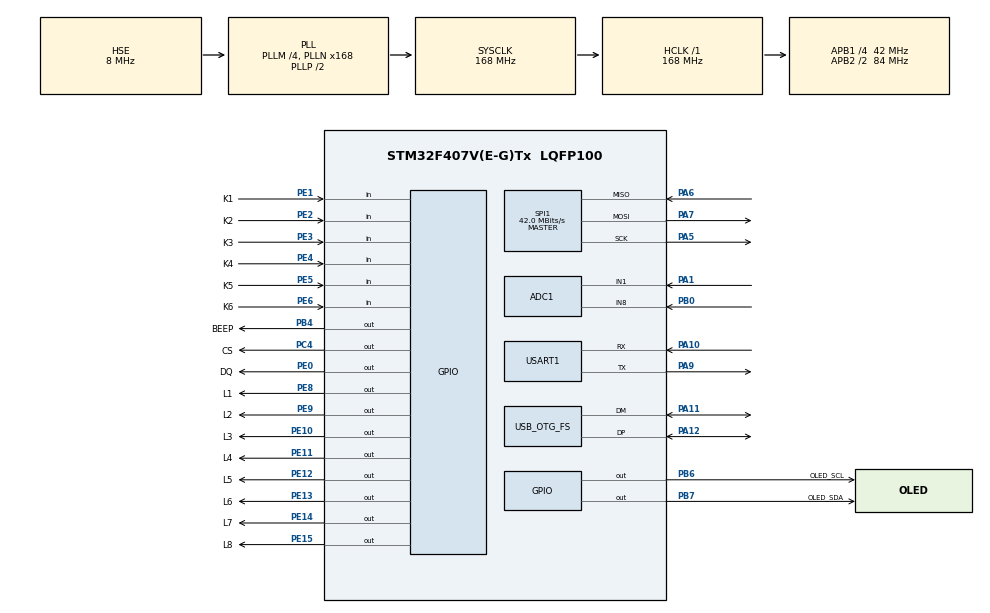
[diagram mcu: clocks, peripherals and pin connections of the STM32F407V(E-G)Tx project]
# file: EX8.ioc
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ADC1.Channel-0\#ChannelRegularConversion=ADC_CHANNEL_1
ADC1.Channel-1\#ChannelRegularConversion=ADC_CHANNEL_8
ADC1.ContinuousConvMode=ENABLE
ADC1.DMAContinuousRequests=ENABLE
ADC1.NbrOfConversion=2
ADC1.NbrOfConversionFlag=1
ADC1.Rank-0\#ChannelRegularConversion=1
ADC1.Rank-1\#ChannelRegularConversion=2
ADC1.SamplingTime-0\#ChannelRegularConversion=ADC_SAMPLETIME_480CYCLES
ADC1.SamplingTime-1\#ChannelRegularConversion=ADC_SAMPLETIME_480CYCLES
ADC1.ScanConvMode=ENABLE
ADC1.master=1
Dma.ADC1.1.Direction=DMA_PERIPH_TO_MEMORY
Dma.ADC1.1.FIFOMode=DMA_FIFOMODE_DISABLE
Dma.ADC1.1.Instance=DMA2_Stream0
Dma.ADC1.1.MemDataAlignment=DMA_MDATAALIGN_HALFWORD
Dma.ADC1.1.MemInc=DMA_MINC_ENABLE
Dma.ADC1.1.Mode=DMA_CIRCULAR
Dma.ADC1.1.PeriphDataAlignment=DMA_PDATAALIGN_HALFWORD
Dma.ADC1.1.PeriphInc=DMA_PINC_DISABLE
Dma.ADC1.1.Priority=DMA_PRIORITY_LOW
Dma.Request0=USART1_RX
Dma.Request1=ADC1
Dma.USART1_RX.0.Direction=DMA_PERIPH_TO_MEMORY
Dma.USART1_RX.0.FIFOMode=DMA_FIFOMODE_DISABLE
Dma.USART1_RX.0.Instance=DMA2_Stream2
Dma.USART1_RX.0.MemDataAlignment=DMA_MDATAALIGN_BYTE
Dma.USART1_RX.0.MemInc=DMA_MINC_ENABLE
Dma.USART1_RX.0.Mode=DMA_NORMAL
Dma.USART1_RX.0.PeriphDataAlignment=DMA_PDATAALIGN_BYTE
Dma.USART1_RX.0.PeriphInc=DMA_PINC_DISABLE
Dma.USART1_RX.0.Priority=DMA_PRIORITY_LOW
FATFS._MAX_SS=4096
FREERTOS.Tasks01=TaskMain,32,2048,StartTaskMain,Default,NULL,Dynamic,NULL,NULL;TaskKEY,24,2048,StartTaskKEY,Default,NULL,Dynamic,NULL,NULL;TaskUsart,24,2048,StartTaskUsart,Default,NULL,Dynamic,NULL,NULL;TaskGUI,8,2048,StartTaskGUI,Default,NULL,Dynamic,NULL,NULL
FREERTOS.configTOTAL_HEAP_SIZE=80000
Mcu.Family=STM32F4
Mcu.Name=STM32F407V(E-G)Tx
Mcu.Package=LQFP100
NVIC.ADC_IRQn=true\:5\:0\:true\:false\:true\:false\:true\:true
NVIC.DMA2_Stream0_IRQn=true\:5\:0\:true\:false\:true\:false\:false\:true
NVIC.DMA2_Stream2_IRQn=true\:5\:0\:false\:false\:true\:true\:false\:true
NVIC.OTG_FS_IRQn=true\:5\:0\:false\:false\:true\:true\:true\:true
NVIC.PriorityGroup=NVIC_PRIORITYGROUP_4
NVIC.RTC_Alarm_IRQn=true\:5\:0\:false\:false\:true\:true\:true\:true
NVIC.RTC_WKUP_IRQn=true\:5\:0\:false\:false\:true\:true\:true\:true
NVIC.TIM7_IRQn=true\:0\:0\:false\:false\:true\:false\:false\:true
NVIC.TimeBase=TIM7_IRQn
NVIC.TimeBaseIP=TIM7
NVIC.USART1_IRQn=true\:5\:0\:true\:false\:true\:false\:true\:true
PA1.Signal=ADCx_IN1
PA10.Mode=Asynchronous
PA10.Signal=USART1_RX
PA11.Mode=Host_Only
PA11.Signal=USB_OTG_FS_DM
PA12.Mode=Host_Only
PA12.Signal=USB_OTG_FS_DP
PA13.Mode=Serial_Wire
PA13.Signal=SYS_JTMS-SWDIO
PA14.Mode=Serial_Wire
PA14.Signal=SYS_JTCK-SWCLK
PA5.Mode=Full_Duplex_Master
PA5.Signal=SPI1_SCK
PA6.Mode=Full_Duplex_Master
PA6.Signal=SPI1_MISO
PA7.Mode=Full_Duplex_Master
PA7.Signal=SPI1_MOSI
PA9.Mode=Asynchronous
PA9.Signal=USART1_TX
PB0.Signal=ADCx_IN8
PB4.GPIO_Label=BEEP
PB4.Signal=GPIO_Output
PB6.GPIO_Label=OLED_SCL
PB6.Signal=GPIO_Output
PB7.GPIO_Label=OLED_SDA
PB7.Signal=GPIO_Output
PC14-OSC32_IN.Mode=LSE-External-Oscillator
PC14-OSC32_IN.Signal=RCC_OSC32_IN
PC15-OSC32_OUT.Mode=LSE-External-Oscillator
PC15-OSC32_OUT.Signal=RCC_OSC32_OUT
PC4.GPIO_Label=CS
PC4.Signal=GPIO_Output
PE0.GPIO_Label=DQ
PE0.Signal=GPIO_Output
PE1.GPIO_Label=K1
PE1.GPIO_Mode=GPIO_MODE_INPUT
PE1.GPIO_PuPd=GPIO_PULLUP
PE1.Signal=GPIO_Input
PE10.GPIO_Label=L3
PE10.PinState=GPIO_PIN_SET
PE10.Signal=GPIO_Output
PE11.GPIO_Label=L4
PE11.PinState=GPIO_PIN_SET
PE11.Signal=GPIO_Output
PE12.GPIO_Label=L5
PE12.PinState=GPIO_PIN_SET
PE12.Signal=GPIO_Output
PE13.GPIO_Label=L6
PE13.PinState=GPIO_PIN_SET
PE13.Signal=GPIO_Output
PE14.GPIO_Label=L7
PE14.PinState=GPIO_PIN_SET
PE14.Signal=GPIO_Output
PE15.GPIO_Label=L8
PE15.PinState=GPIO_PIN_SET
PE15.Signal=GPIO_Output
PE2.GPIO_Label=K2
PE2.GPIO_Mode=GPIO_MODE_INPUT
PE2.GPIO_PuPd=GPIO_PULLUP
PE2.Signal=GPIO_Input
PE3.GPIO_Label=K3
PE3.GPIO_Mode=GPIO_MODE_INPUT
PE3.GPIO_PuPd=GPIO_PULLUP
PE3.Signal=GPIO_Input
PE4.GPIO_Label=K4
PE4.GPIO_Mode=GPIO_MODE_INPUT
PE4.GPIO_PuPd=GPIO_PULLUP
PE4.Signal=GPIO_Input
PE5.GPIO_Label=K5
PE5.GPIO_Mode=GPIO_MODE_INPUT
PE5.GPIO_PuPd=GPIO_PULLDOWN
PE5.Signal=GPIO_Input
PE6.GPIO_Label=K6
PE6.GPIO_Mode=GPIO_MODE_INPUT
PE6.GPIO_PuPd=GPIO_PULLDOWN
PE6.Signal=GPIO_Input
PE8.GPIO_Label=L1
PE8.PinState=GPIO_PIN_SET
PE8.Signal=GPIO_Output
PE9.GPIO_Label=L2
PE9.PinState=GPIO_PIN_SET
PE9.Signal=GPIO_Output
PH0-OSC_IN.Mode=HSE-External-Oscillator
PH0-OSC_IN.Signal=RCC_OSC_IN
PH1-OSC_OUT.Mode=HSE-External-Oscillator
PH1-OSC_OUT.Signal=RCC_OSC_OUT
ProjectManager.HeapSize=0x4000
ProjectManager.StackSize=0x4000
ProjectManager.TargetToolchain=MDK-ARM V5.27
RCC.48MHZClocksFreq_Value=48000000
RCC.AHBFreq_Value=168000000
RCC.APB1CLKDivider=RCC_HCLK_DIV4
RCC.APB1Freq_Value=42000000
RCC.APB1TimFreq_Value=84000000
RCC.APB2CLKDivider=RCC_HCLK_DIV2
RCC.APB2Freq_Value=84000000
RCC.APB2TimFreq_Value=168000000
RCC.CortexFreq_Value=168000000
RCC.HCLKFreq_Value=168000000
RCC.HSE_VALUE=8000000
RCC.HSI_VALUE=16000000
RCC.PLLM=4
RCC.PLLN=168
RCC.PLLQ=7
RCC.RCC_RTC_Clock_Source=RCC_RTCCLKSOURCE_LSE
RCC.SYSCLKFreq_VALUE=168000000
RCC.SYSCLKSource=RCC_SYSCLKSOURCE_PLLCLK
RCC.VCOOutputFreq_Value=336000000
RTC.Alarm=RTC_ALARM_A
SH.ADCx_IN1.0=ADC1_IN1,IN1
SH.ADCx_IN8.0=ADC1_IN8,IN8
SPI1.CalculateBaudRate=42.0 MBits/s
SPI1.Direction=SPI_DIRECTION_2LINES
SPI1.Mode=SPI_MODE_MASTER
SPI1.VirtualType=VM_MASTER
USART1.VirtualMode=VM_ASYNC
USB_HOST.USBH_HandleTypeDef-MSC_FS=hUsbHostFS
USB_HOST.USBH_PROCESS_STACK_SIZE-MSC_FS=512
USB_HOST.VirtualModeFS=Msc
USB_OTG_FS.VirtualMode=Host_Only
USB_OTG_FS.phy_itface=HCD_PHY_EMBEDDED
VP_FATFS_VS_Generic.Mode=User_defined
VP_FATFS_VS_USB.Mode=USB
VP_FREERTOS_VS_CMSIS_V2.Mode=CMSIS_V2
VP_RTC_VS_RTC_Activate.Mode=RTC_Enabled
VP_RTC_VS_RTC_Alarm_A_Intern.Mode=Alarm A
VP_RTC_VS_RTC_Calendar.Mode=RTC_Calendar
VP_RTC_VS_RTC_WakeUp_intern.Mode=WakeUp
VP_SYS_VS_tim7.Mode=TIM7
VP_USB_HOST_VS_USB_HOST_MSC_FS.Mode=MSC_FS
board=custom

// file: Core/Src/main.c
/* USER CODE BEGIN Header */
/**
  ******************************************************************************
  * @file           : main.c
  * @brief          : Main program body
  ******************************************************************************
  * @attention
  *
  * <h2><center>&copy; Copyright (c) 2020 STMicroelectronics.
  * All rights reserved.</center></h2>
  *
  * This software component is licensed by ST under Ultimate Liberty license
  * SLA0044, the "License"; You may not use this file except in compliance with
  * the License. You may obtain a copy of the License at:
  *                             www.st.com/SLA0044
  *
  ******************************************************************************
  */
/* USER CODE END Header */
#include "main.h"
#include "cmsis_os.h"
#include "adc.h"
#include "dma.h"
#include "fatfs.h"
#include "rtc.h"
#include "spi.h"
#include "usart.h"
#include "usb_host.h"
#include "gpio.h"

/* USER CODE BEGIN Includes */
#include <stdio.h>
#include <stdlib.h>
#include <string.h>
#include "w25qxx.h"

/* USER CODE END Includes */

void SystemClock_Config(void);
void MX_FREERTOS_Init(void);

/* USER CODE BEGIN 0 */

void TestW25Q128(void)
{
	uint8_t dat[4096] = "1234567890-1234567890-1234567890-1234567890-1234567890-\0";
	uint8_t read_buf[4096] = {0};
	uint16_t i;
	uint16_t *pDat = (uint16_t *)dat;
	for(i=0;i<sizeof(dat)/2;++i)
	{
		pDat[i] = i*i;
	}

	W25QXX_Init();
	uint16_t device_id = W25QXX_ReadID();
	printf("device_id = 0x%04X\n\r",device_id);

	HAL_Delay(500);

	int j=0;
	uint32_t addr = 0;
	for(j=0;j<1;j++)
	{
		addr = 0x1000 * j;
		// 读扇区
		printf("Read data before write\n\r");
		memset(read_buf,0,sizeof(read_buf));
		W25QXX_Read(read_buf,addr,sizeof(read_buf));
		printf("read data if:\n\r");
		for(i=0;i<sizeof(read_buf);++i)
		{
			printf("%02X ",read_buf[i]);
		}
		printf("\n\r");
		HAL_Delay(20);

		//撤除该扇区
		printf("Erase sector %d\n\r",addr / 0x1000);
		W25QXX_Erase_Sector(addr);
		HAL_Delay(20);

		//写数据
		printf("Write data\n\r");
		W25QXX_Write(dat,addr,sizeof(dat));
		HAL_Delay(20);

		//再次读数据
		printf("Read data after write\n\r");
		memset(read_buf,0,sizeof(dat));
		W25QXX_Read(read_buf,addr,sizeof(read_buf));
		printf("read data is:\n\r");
		for(i=0;i<sizeof(read_buf);++i)
		{
			printf("%02X ",read_buf[i]);
		}
		printf("\n\r");
		HAL_Delay(20);

		uint8_t chkok = 1;
		for(i=0;i<sizeof(dat);++i)
		{
			if(dat[i] != read_buf[i])
			{
				chkok = 0;
				break;
			}
		}
		printf("sector %d write %s!\n\r", addr/0x1000,chkok?"ok":"error");
		if(!chkok)
			break;
	}
}

void fs_test(void)
{
	BYTE work[4096];
	FATFS fs;
	FIL fil;
	FRESULT res;
	UINT bw,i;
	BYTE mm[500];

	res = f_mount(&fs,"0:",1);
	if(res == 0x0D)
	{
		printf("Flash Disk Formatting...\n\r");  //格式化FLASH
		res = f_mkfs("0:",FM_ANY,0,work,sizeof(work));
		if(res != FR_OK)
			printf("mkfs error.\n\r");
	}
	if(res == FR_OK)
		printf("FATFS Init ok!\n\r");

	res = f_open(&fil,"0:/test.txt",FA_CREATE_NEW);
	if(res != FR_OK && res != FR_EXIST)
		printf("create file error.\n\r");
	if(res == FR_EXIST)
		res = f_open(&fil,"0:/test.txt",FA_WRITE|FA_READ|FA_OPEN_APPEND);
	if(res != FR_OK)
		printf("open file error.\n\r");
	else
	{
		printf("open file ok.\n\r");
		f_puts("Hello,World\n\r你好世界\n\r",&fil);
		printf("file size:%ld Bytes.\n\r",f_size(&fil));

		memset(mm,0x0,500);
		f_lseek(&fil,0);
		res = f_read(&fil,mm,500,&i);
		if(res == FR_OK)
			printf("read size:%d Bytes.\n\r%s",i,mm);
		else
			printf("read error!\n\r");

		f_close(&fil);
	}
	/*卸载文件系统*/
	f_mount(0,"0:",0);
}

void InitFS(uint8_t breset)
{
	BYTE work[4096];
	FATFS fs;
	FIL fil;
	FRESULT res;

	res = f_mount(&fs,"0:",1);
	if(res == 0x0D)
	{
		printf("Flash Disk Formatting...\n\r");  //格式化FLASH
		res = f_mkfs("0:",FM_ANY,0,work,sizeof(work));
		if(res != FR_OK)
			printf("mkfs error.\n\r");
	}
	if(res == FR_OK)
		printf("FATFS Init ok!\n\r");
	if(breset)
		res = f_open(&fil,"0:/alarm.txt",FA_CREATE_ALWAYS);
	else
		res = f_open(&fil,"0:/alarm.txt",FA_CREATE_NEW);
	if(res != FR_OK && res != FR_EXIST)
		printf("create file error.\n\r");
	else
	{
		printf("create alarm.txt ok\n\r");
		f_close(&fil);
	}

	if(breset)
		res = f_open(&fil,"0:/para.txt",FA_CREATE_ALWAYS);
	else
		res = f_open(&fil,"0:/para.txt",FA_CREATE_NEW);
	if(res != FR_OK && res != FR_EXIST)
		printf("create file error.\n\r");
	else
	{
		printf("create para.txt ok\n\r");
		f_close(&fil);
	}
}
/* USER CODE END 0 */

int main(void)
{

  /* MCU Configuration--------------------------------------------------------*/

  /* Reset of all peripherals, Initializes the Flash interface and the Systick. */
  HAL_Init();

  /* Configure the system clock */
  SystemClock_Config();

  /* Initialize all configured peripherals */
  MX_GPIO_Init();
  MX_DMA_Init();
  MX_USART1_UART_Init();
  MX_ADC1_Init();
  MX_SPI1_Init();
  MX_FATFS_Init();
  MX_RTC_Init();
  /* USER CODE BEGIN 2 */
	HAL_RTCEx_DeactivateWakeUpTimer(&hrtc);
	HAL_RTC_DeactivateAlarm(&hrtc,RTC_ALARM_A);

	HAL_Delay(1000);
//	TestW25Q128();
//	fs_test();
//
//	HAL_Delay(10000);
//	InitFS(0);

  /* USER CODE END 2 */

  /* Init scheduler */
  osKernelInitialize();  /* Call init function for freertos objects (in freertos.c) */
  MX_FREERTOS_Init();
  /* Start scheduler */
  osKernelStart();

  /* We should never get here as control is now taken by the scheduler */
  /* Infinite loop */
  while (1)
  {

  }
}

void SystemClock_Config(void)
{
  RCC_OscInitTypeDef RCC_OscInitStruct = {0};
  RCC_ClkInitTypeDef RCC_ClkInitStruct = {0};

  /** Configure the main internal regulator output voltage
  */
  __HAL_RCC_PWR_CLK_ENABLE();
  __HAL_PWR_VOLTAGESCALING_CONFIG(PWR_REGULATOR_VOLTAGE_SCALE1);
  /** Initializes the RCC Oscillators according to the specified parameters
  * in the RCC_OscInitTypeDef structure.
  */
  RCC_OscInitStruct.OscillatorType = RCC_OSCILLATORTYPE_HSE|RCC_OSCILLATORTYPE_LSE;
  RCC_OscInitStruct.HSEState = RCC_HSE_ON;
  RCC_OscInitStruct.LSEState = RCC_LSE_ON;
  RCC_OscInitStruct.PLL.PLLState = RCC_PLL_ON;
  RCC_OscInitStruct.PLL.PLLSource = RCC_PLLSOURCE_HSE;
  RCC_OscInitStruct.PLL.PLLM = 4;
  RCC_OscInitStruct.PLL.PLLN = 168;
  RCC_OscInitStruct.PLL.PLLP = RCC_PLLP_DIV2;
  RCC_OscInitStruct.PLL.PLLQ = 7;
  if (HAL_RCC_OscConfig(&RCC_OscInitStruct) != HAL_OK)
  {
    Error_Handler();
  }
  /** Initializes the CPU, AHB and APB buses clocks
  */
  RCC_ClkInitStruct.ClockType = RCC_CLOCKTYPE_HCLK|RCC_CLOCKTYPE_SYSCLK
                              |RCC_CLOCKTYPE_PCLK1|RCC_CLOCKTYPE_PCLK2;
  RCC_ClkInitStruct.SYSCLKSource = RCC_SYSCLKSOURCE_PLLCLK;
  RCC_ClkInitStruct.AHBCLKDivider = RCC_SYSCLK_DIV1;
  RCC_ClkInitStruct.APB1CLKDivider = RCC_HCLK_DIV4;
  RCC_ClkInitStruct.APB2CLKDivider = RCC_HCLK_DIV2;

  if (HAL_RCC_ClockConfig(&RCC_ClkInitStruct, FLASH_LATENCY_5) != HAL_OK)
  {
    Error_Handler();
  }
}

void HAL_TIM_PeriodElapsedCallback(TIM_HandleTypeDef *htim)
{
  if (htim->Instance == TIM7) {
    HAL_IncTick();
  }
}

void Error_Handler(void)
{
}

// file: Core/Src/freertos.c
/* USER CODE BEGIN Header */
/**
  ******************************************************************************
  * File Name          : freertos.c
  * Description        : Code for freertos applications
  ******************************************************************************
  * @attention
  *
  * <h2><center>&copy; Copyright (c) 2020 STMicroelectronics.
  * All rights reserved.</center></h2>
  *
  * This software component is licensed by ST under Ultimate Liberty license
  * SLA0044, the "License"; You may not use this file except in compliance with
  * the License. You may obtain a copy of the License at:
  *                             www.st.com/SLA0044
  *
  ******************************************************************************
  */
/* USER CODE END Header */

#include "FreeRTOS.h"
#include "task.h"
#include "main.h"
#include "cmsis_os.h"

/* USER CODE BEGIN Includes */
#include "gpio.h"
#include "GUI.h"
#include "usart.h"
#include "ds_18b20.h"
#include "adc.h"
#include "w25qxx.h"
#include "fatfs.h"
#include "spi.h"
#include "rtc.h"
#include "fatfs.h"

#include <stdio.h>
#include <stdlib.h>
#include <string.h>
/* USER CODE END Includes */

/* USER CODE BEGIN PM */
#define UI_LOGO				0
#define UI_MAIN				1
#define UI_DATA				2
#define UI_TEMP_LINE	3
#define UI_MIC_LINE		4
#define UI_TOUCH_LINE	5
#define UI_ALARM_SET	6

/* USER CODE END PM */

/* USER CODE BEGIN Variables */
extern GUI_FLASH const GUI_FONT GUI_FontHZ_KaiTi_24;
extern GUI_FLASH const GUI_FONT GUI_FontHZ_SimSun_12;
extern GUI_FLASH const GUI_FONT GUI_FontHZ_SimSun_16;
extern GUI_CONST_STORAGE GUI_BITMAP bmPKQ;

uint8_t g_ui_index = UI_ALARM_SET;
uint8_t g_ui_select = UI_DATA;

#define MAX_RECV_LEN 	256
#define MAX_LINE_SIZE	22
#define MAX_PAGE_LINE	6
uint8_t rx1_buff[MAX_RECV_LEN] = {0};
uint8_t recv_buff[MAX_RECV_LEN] = {0};
uint8_t *pBuf;
uint32_t recv_tick = 0;

#define MAX_DMA_BUFF_SIZE	4
uint16_t dma_adval[MAX_DMA_BUFF_SIZE];
uint16_t adval1;	// 麦克风输入
uint16_t adval2;	// 触摸按键输入

float temp_tab[128];
int temp_idx = 0;
uint16_t mic_tab[128];
int mic_idx = 0;
uint16_t touch_tab[128];
int touch_idx = 0;

float temp_alarm_max = 30;
uint8_t g_balarm = 0;

int temp_alarm_time = 5;
float temp = 0;

/* USER CODE END Variables */
/* Definitions for TaskMain */
osThreadId_t TaskMainHandle;
const osThreadAttr_t TaskMain_attributes = {
  .name = "TaskMain",
  .stack_size = 2048 * 4,
  .priority = (osPriority_t) osPriorityAboveNormal,
};
/* Definitions for TaskKEY */
osThreadId_t TaskKEYHandle;
const osThreadAttr_t TaskKEY_attributes = {
  .name = "TaskKEY",
  .stack_size = 2048 * 4,
  .priority = (osPriority_t) osPriorityNormal,
};
/* Definitions for TaskUsart */
osThreadId_t TaskUsartHandle;
const osThreadAttr_t TaskUsart_attributes = {
  .name = "TaskUsart",
  .stack_size = 2048 * 4,
  .priority = (osPriority_t) osPriorityNormal,
};
/* Definitions for TaskGUI */
osThreadId_t TaskGUIHandle;
const osThreadAttr_t TaskGUI_attributes = {
  .name = "TaskGUI",
  .stack_size = 2048 * 4,
  .priority = (osPriority_t) osPriorityLow,
};

/* USER CODE BEGIN FunctionPrototypes */
void DrawUILogo(void);
void DrawUIMain(void);
void DrawUIData(void);
void DrawUITempLine(void);
void DrawUIMicLine(void);
void DrawUITouchLine(void);
void DrawUIAlarmSet(void);

void Key1Done(void);
void Key2Done(void);
void Key3Done(void);
void Key4Done(void);

FRESULT TestFatFs(FATFS *pfs,FIL *pfil,char *path);//文件操作测试函数声明
#define SET_ADDR 10 * 4096
void SaveAlarmSet(uint32_t addr, float setval);
float LoadAlarmSet(uint32_t addr);

void LoadPara(void);
void SavePara(void);
void PrintfAlarm(void);
void SaveAlarm(float temp);

void Data_Save_USB(void);

FRESULT TestFatFs(FATFS *pfs,FIL *pfil,char *path);//文件操作测试函数
/* USER CODE END FunctionPrototypes */

void StartTaskMain(void *argument);
void StartTaskKEY(void *argument);
void StartTaskUsart(void *argument);
void StartTaskGUI(void *argument);

extern void MX_USB_HOST_Init(void);
void MX_FREERTOS_Init(void); /* (MISRA C 2004 rule 8.1) */

void MX_FREERTOS_Init(void) {

  /* Create the thread(s) */
  /* creation of TaskMain */
  TaskMainHandle = osThreadNew(StartTaskMain, NULL, &TaskMain_attributes);

  /* creation of TaskKEY */
  TaskKEYHandle = osThreadNew(StartTaskKEY, NULL, &TaskKEY_attributes);

  /* creation of TaskUsart */
  TaskUsartHandle = osThreadNew(StartTaskUsart, NULL, &TaskUsart_attributes);

  /* creation of TaskGUI */
  TaskGUIHandle = osThreadNew(StartTaskGUI, NULL, &TaskGUI_attributes);

}

void StartTaskMain(void *argument)
{
  /* init code for USB_HOST */
  MX_USB_HOST_Init();
  /* USER CODE BEGIN StartTaskMain */
	osDelay(500);
//	printf("USB FATFS READ WRITE TEST!!!\n");
//	retUSBH = TestFatFs(&USBHFatFS,&USBHFile,USBHPath);

	ds18b20_init();
//	W25QXX_Init();
//	printf("W25QXX FLASH ID:%0x\n\r",W25QXX_ReadID());
//	float val = LoadAlarmSet(SET_ADDR);
//	if(val > -40 && val < 150)
//	{
//		temp_alarm_max = val;
////		printf("temp alarm max:%lf\n\r",temp_alarm_max);
//	}

	HAL_ADC_Start_DMA(&hadc1, (uint32_t *)dma_adval, MAX_DMA_BUFF_SIZE);

  /* Infinite loop */
	uint32_t tick = osKernelGetTickCount() + 100;
	uint32_t alarm_tick = 0;

	int step = 100;
  for(;;)
  {
		if (osKernelGetTickCount() >= tick)
		{
			tick = osKernelGetTickCount() + step;

			if (g_ui_index == UI_MIC_LINE ||
				g_ui_index == UI_TOUCH_LINE)
			{
				step = 0;
				if (mic_idx < 128)
					mic_tab[mic_idx++] = adval1;
				else
				{
					memcpy((void *)mic_tab, (void *)(mic_tab + 1), sizeof(uint16_t) * 127);
					mic_tab[127] = adval1;
				}
				if (touch_idx < 128)
					touch_tab[touch_idx++] = adval2;
				else
				{
					memcpy((void *)touch_tab, (void *)(touch_tab + 1), sizeof(uint16_t) * 127);
					touch_tab[127] = adval2;
				}

//				printf("adval1:%5d, adval2:%5d\n", adval1, adval2);
			}
			else
			{
				step = 100;
				temp = ds18b20_read();
				if (temp > temp_alarm_max)
				{
					g_balarm = 1;
					if(osKernelGetTickCount() >= alarm_tick)
					{
//						printf("%4.1f temp warnning !!!\n\r", temp);
//						SaveAlarm(temp);

						//读取RTC时钟
						if(ReadRTCDateTime() == HAL_OK)
						{
							printf("%d-%d-%d %dh %dmin %dsec temp = %4.1f \r\n",RTC_Year,RTC_Mon,RTC_Dat,RTC_Hour,RTC_Min,RTC_Sec,temp);
							//暂时存取数据文件
							Data_Save_USB();
						}

						alarm_tick = osKernelGetTickCount() + temp_alarm_time * 1500;
					}
				}
				else
				{
					g_balarm = 0;
					alarm_tick = 0;
//					printf("temp:%4.1f, adval1:%5d, adval2:%5d\n", temp, adval1, adval2);
				}
				if (temp_idx < 128)
					temp_tab[temp_idx++] = temp;
				else
				{
					memcpy((void *)temp_tab, (void *)(temp_tab + 1), sizeof(float) * 127);
					temp_tab[127] = temp;
				}
			}
		}

    osDelay(1);
  }
  /* USER CODE END StartTaskMain */
}

void StartTaskKEY(void *argument)
{
  /* USER CODE BEGIN StartTaskKEY */
  /* Infinite loop */
	uint8_t key = 0;
	int beep_time = 100;
	int beep_cnt = 3;
	uint32_t beep_tick = 0;
  for(;;)
  {
		key = KeyScan();
		switch (key)
		{
			case KEY1:
				Key1Done();
				break;
			case KEY2:
				Key2Done();
				break;
			case KEY3:
				Key3Done();
				break;
			case KEY4:
				Key4Done();
				break;
			case KEY5:
				g_ui_index = UI_LOGO;
				break;
			case KEY6:
				g_ui_index = UI_MAIN;
				break;
			default:
				break;
		}

		if (g_balarm && osKernelGetTickCount() > beep_tick)
		{
			if (beep_cnt)
			{
//				Beep(&beep_time);
				if (0 == beep_time)
				{
					osDelay(100);
					--beep_cnt;
					if (beep_cnt)
						beep_time = 100;
					else
					{
						beep_cnt = 3;
						beep_time = 100;
						beep_tick = osKernelGetTickCount() + temp_alarm_time*1000;
					}
				}
			}
		}
		osDelay(1);
  }
  /* USER CODE END StartTaskKEY */
}

void StartTaskUsart(void *argument)
{
  /* USER CODE BEGIN StartTaskUsart */
	pBuf = rx1_buff;
	HAL_UART_Receive_IT(&huart1, pBuf, 1); // 重新开启接收中断

  /* Infinite loop */
  for(;;)
  {
		if (recv_tick > 0 && osKernelGetTickCount() >= recv_tick + 20)
		{
			*pBuf = '\0';			// 添加字符串末尾结束符
			memcpy(recv_buff, rx1_buff, pBuf - rx1_buff + 1);
			recv_tick = 0;

			pBuf = rx1_buff;	// 重新指向数组开头
			printf("%s", recv_buff);

			if (strstr((char *)recv_buff, "TEMP_ALARM_MAX:") == (char *)recv_buff)
			{
				float temp = atof((char *)recv_buff + 15);
				if (temp >= -10 && temp <= 100)
				{
					temp_alarm_max = temp;
					printf("temp alarm max set ok!\n");
					SavePara();
				}
				else
					printf("temp alarm max set error!\n");
			}
			if (strstr((char *)recv_buff, "TEMP_ALARM_TIME:") == (char *)recv_buff)
			{
				int time = atoi((char *) recv_buff + 16);
				if(time > 0 && time <= 60)
				{
					temp_alarm_time = time;
					printf("temp alarm time set ok!\n");
					SavePara();
				}
				else
					printf("temp alarm time set error!\n");
			}
		}
    osDelay(1);
  }
  /* USER CODE END StartTaskUsart */
}

void StartTaskGUI(void *argument)
{
  /* USER CODE BEGIN StartTaskGUI */
	GUI_Init();

  /* Infinite loop */
  for(;;)
  {
		switch (g_ui_index)
		{
			default:
			case UI_LOGO:
				DrawUILogo();
				break;
			case UI_MAIN:
				DrawUIMain();
				break;
			case UI_DATA:
				DrawUIData();
				break;
			case UI_TEMP_LINE:
				DrawUITempLine();
				break;
			case UI_MIC_LINE:
				DrawUIMicLine();
				break;
			case UI_TOUCH_LINE:
				DrawUITouchLine();
				break;
			case UI_ALARM_SET:
				DrawUIAlarmSet();
				break;
		}
    osDelay(1);
  }
  /* USER CODE END StartTaskGUI */
}

/* USER CODE BEGIN Application */
void DrawUILogo(void)
{
	GUI_Clear();
	GUI_DrawBitmap(&bmPKQ, (128 - bmPKQ.XSize) / 2, 0);
	GUI_Update();
	osDelay(2000);

	GUI_Clear();

	GUI_SetFont(&GUI_FontHZ_KaiTi_24);
	GUI_DispStringHCenterAt("1801234", 64, 0);
	GUI_DispStringHCenterAt("曾毓", 64, 30);
	GUI_Update();
	osDelay(2000);

	g_ui_index = UI_MAIN;
}

void DrawUIMain(void)
{
	GUI_Clear();
	GUI_SetFont(&GUI_FontHZ_SimSun_16);
	GUI_DispStringHCenterAt("主菜单", 64, 0);

	GUI_SetFont(&GUI_FontHZ_SimSun_12);

	if (g_ui_select > UI_TEMP_LINE)
	{
		GUI_DispStringAt("麦克风数据曲线", 20, 20);
		GUI_DispStringAt((g_ui_select == UI_MIC_LINE) ? "*" : "", 10, 20);
		GUI_DispStringAt("触摸按键数据曲线", 20, 34);
		GUI_DispStringAt((g_ui_select == UI_TOUCH_LINE) ? "*" : "", 10, 34);
		GUI_DispStringAt("温度报警设置", 20, 48);
		GUI_DispStringAt((g_ui_select == UI_ALARM_SET) ? "*" : "", 10, 48);
	}
	else
	{
		GUI_DispStringAt("即时数据", 20, 20);
		GUI_DispStringAt((g_ui_select == UI_DATA) ? "*" : "", 10, 20);
		GUI_DispStringAt("温度曲线", 20, 34);
		GUI_DispStringAt((g_ui_select == UI_TEMP_LINE) ? "*" : "", 10, 34);
		GUI_DispStringAt("麦克风数据曲线", 20, 48);
		GUI_DispStringAt((g_ui_select == UI_MIC_LINE) ? "*" : "", 10, 48);
	}

	GUI_Update();
}

void DrawUIData(void)
{
	GUI_Clear();
	GUI_SetFont(&GUI_FontHZ_SimSun_16);
	GUI_DispStringHCenterAt("即时数据", 64, 0);

	GUI_Update();
}

void DrawUITempLine(void)
{
	GUI_Clear();
	GUI_SetFont(&GUI_FontHZ_SimSun_16);
	GUI_DispStringHCenterAt("温度曲线", 64, 0);

	float temp_min = 20;
	float temp_max = 30;
	float temp_mid = (temp_max + temp_min) / 2;
	float temp_height = (temp_max - temp_min) / 2;
	for (int i = 1; i < temp_idx; ++i)
	{
		int h1 = 16 + 24 - (temp_tab[i] - temp_mid) * 24 / temp_height;
		int h0 = 16 + 24 - (temp_tab[i - 1] - temp_mid) * 24 / temp_height;
		GUI_DrawLine(i - 1, h0, i, h1);
	}

	GUI_Update();
}

void DrawUIMicLine(void)
{
	GUI_Clear();
	GUI_SetFont(&GUI_FontHZ_SimSun_16);
	GUI_DispStringHCenterAt("麦克风数据曲线", 64, 0);

	uint16_t mic_min = 0;
	uint16_t mic_max = 4095;
	uint16_t mic_mid = (mic_max + mic_min) / 2;
	uint16_t mic_height = (mic_max - mic_min) / 2;
	for (int i = 1; i < mic_idx; ++i)
	{
		int h1 = 16 + 24 - (mic_tab[i] - mic_mid) * 24 / mic_height;
		int h0 = 16 + 24 - (mic_tab[i - 1] - mic_mid) * 24 / mic_height;
		GUI_DrawLine(i - 1, h0, i, h1);
	}
	GUI_Update();
}

void DrawUITouchLine(void)
{
	GUI_Clear();
	GUI_SetFont(&GUI_FontHZ_SimSun_16);
	GUI_DispStringAt("触摸按键数据曲线", 10, 0);

	uint16_t touch_min = 0;
	uint16_t touch_max = 4095;
	uint16_t touch_mid = (touch_max + touch_min) / 2;
	uint16_t touch_height = (touch_max - touch_min) / 2;
	for (int i = 1; i < touch_idx; ++i)
	{
		int h1 = 16 + 24 - (touch_tab[i] - touch_mid) * 24 / touch_height;
		int h0 = 16 + 24 - (touch_tab[i - 1] - touch_mid) * 24 / touch_height;
		GUI_DrawLine(i - 1, h0, i, h1);
	}
	GUI_Update();
}

void DrawUIAlarmSet(void)
{
	GUI_Clear();
	GUI_SetFont(&GUI_FontHZ_SimSun_16);
	GUI_DispStringAt("温度报警设置", 10, 0);

	char str[20];
	sprintf(str, "温度上限：%.0f℃", temp_alarm_max);
	GUI_DispStringAt(str, 10, 20);

	GUI_DispStringAt("↑K1  ↓K4", 10, 40);
	GUI_Update();
}

void Key1Done(void)
{
	switch (g_ui_index)
	{
		default:
			break;
		case UI_MAIN:
			if (g_ui_select > UI_DATA)
				-- g_ui_select;
			break;
		case UI_ALARM_SET:
			if (temp_alarm_max < 100)
			{
				temp_alarm_max += 1;
				SaveAlarmSet(SET_ADDR,temp_alarm_max);
				SavePara();
			}
			break;
	}
}

void Key2Done(void)
{
	switch (g_ui_index)
	{
		default:
			break;
	}
}

void Key3Done(void)
{
	switch (g_ui_index)
	{
		default:
			break;
		case UI_MAIN:
			g_ui_index = g_ui_select;
			break;
		case UI_ALARM_SET:
//			PrintfAlarm();

		//打印报警信息并存储到U盘
		Data_Save_USB();
			break;
	}
}

void Key4Done(void)
{
	switch (g_ui_index)
	{
		default:
			break;
		case UI_MAIN:
			if (g_ui_select < UI_ALARM_SET)
				++ g_ui_select;
			break;
		case UI_ALARM_SET:
			if (temp_alarm_max > -10)
			{
				temp_alarm_max -= 1;
				SaveAlarmSet(SET_ADDR,temp_alarm_max);
				SavePara();
			}
			break;
	}
}

void HAL_UART_RxCpltCallback(UART_HandleTypeDef *UartHandle)
{
	if (UartHandle->Instance == USART1)
	{
		++ pBuf; // 已接收一个字节数据，当前存储位置指针后移
		if(pBuf == rx1_buff + MAX_RECV_LEN) // 如果指针已移出数组边界
			pBuf = rx1_buff; 									// 重新指向数组开头

		recv_tick = osKernelGetTickCount();

		__HAL_UNLOCK(UartHandle); 								// 解锁串口
		HAL_UART_Receive_IT(UartHandle, pBuf, 1); // 重新开启接收中断
	}
}

void HAL_ADC_ConvCpltCallback(ADC_HandleTypeDef *hadc)
{
//	static uint8_t idx = 0;
	if (hadc == &hadc1)
	{
		int sum1, sum2;
		sum1 = sum2 = 0;
		for (int i = 0; i < MAX_DMA_BUFF_SIZE; i += 2)
		{
			sum1 += dma_adval[i];			// 麦克风
			sum2 += dma_adval[i + 1];	// 触摸按键
		}
		adval1 = (sum1 << 1) / MAX_DMA_BUFF_SIZE;
		adval2 = (sum2 << 1) / MAX_DMA_BUFF_SIZE;
	}
}

void SaveAlarmSet(uint32_t addr, float setval)
{
	W25QXX_Write((uint8_t *)(&setval), addr, sizeof(setval));
}

float LoadAlarmSet(uint32_t addr)
{
	float val = 0;
	W25QXX_Read((uint8_t *)(&val), addr, sizeof(val));

	return val;
}

void SavePara(void)
{
	FIL fil;
	FRESULT res;

		res = f_open(&fil,"0:/para.txt",FA_WRITE| FA_OPEN_ALWAYS);
	if(res != FR_OK)
		printf("open file error.\n\r");
	else
	{

		f_lseek(&fil,0);
		f_printf(&fil,"ALARM_MAX:%.1f\n",temp_alarm_max);
		f_printf(&fil,"ALARM_TIME:%d\n",temp_alarm_time);
		f_close(&fil);
	}

}

void LoadPara(void)
{
	FIL fil;
	FRESULT res;
	char buf[50];

		res = f_open(&fil,"0:/para.txt",FA_READ| FA_OPEN_ALWAYS );
	if(res != FR_OK)
		printf("open file error.\n\r");
	else
	{
		f_lseek(&fil,0);
		while (f_gets(buf,50,&fil))
		{
			if (strstr(buf, "ALARM_MAX:") == buf)
			{
				float temp = atof(buf + 10);
				if (temp >= -10 && temp <= 100)
				{
					temp_alarm_max = temp;
					printf("temp alarm max load ok!\n");
				}
				else
					printf("temp alarm max load error!\n");
			}
			if (strstr(buf, "ALARM_TIME:") == buf)
			{
				int time = atoi( buf + 11);
				if(time > 0 && time <= 60)
				{
					temp_alarm_time = time;
					printf("temp alarm time load ok!\n");
				}
				else
					printf("temp alarm time load error!\n");
			}
		}
		f_close(&fil);
	}

}

void SaveAlarm(float temp)
{
	FIL fil;
	FRESULT res;
	char buf[50];

		res = f_open(&fil,"0:/alarm.txt",FA_WRITE | FA_OPEN_APPEND);
	if(res != FR_OK)
		printf("open file error.\n\r");
	else
	{
		sprintf(buf,"%8d,%5.1f\r\n",osKernelGetTickCount(),temp);
		f_puts(buf,&fil);
		f_close(&fil);
	}

}

void PrintfAlarm(void)
{
	FIL fil;
	FRESULT res;
	char buf[50];

		res = f_open(&fil,"0:/alarm.txt",FA_READ| FA_OPEN_ALWAYS );
	if(res != FR_OK)
		printf("open file error.\n\r");
	else
	{
		f_lseek(&fil,0);
		while (f_gets(buf,50,&fil))
		{
			printf("%s",buf);
			printf("\n\r");
//			puts(buf);

		}
		f_close(&fil);
	}

}

FRESULT TestFatFs(FATFS *pfs,FIL *pfil,char *path)//文件操作测试函数
{
	BYTE work[4096];
	char filename[128];//文件路径名
	char data_to_sent[128];//存储数据名
	FRESULT res;//文件操作结果

	res=f_mount(pfs,path,1);//立即挂载文件系统
	if(res == FR_OK)
		printf("FATFS Init ok!\n");
	else{
		printf("FATFS Init error%d\n",res);//初始化失败，直接返回
		return res;
	}
	//打开TEST.TXT文件进行读写
	sprintf(filename,"%stest.txt",path);//设置文件绝对路径
	res = f_open(pfil,filename,FA_OPEN_ALWAYS|FA_WRITE|FA_READ|FA_OPEN_APPEND);
	if(res!=FR_OK)	printf("open file error.\n");
	else{
		printf("open file ok.\n");
//		f_puts("Hello,world!\n你好世界\n",pfil);//写入两行字符串
		//数据写入U盘
		sprintf(data_to_sent,"%d-%d-%d %dh %dmin %dsec temp = %4.1f \r\n",RTC_Year,RTC_Mon,RTC_Dat,RTC_Hour,RTC_Min,RTC_Sec,temp);
		f_puts(data_to_sent,pfil);

		printf("file size:%d Bytes.\n",(int)f_size(pfil));

		UINT br;	//	临时变量
		f_lseek(pfil,0);//定位到文件头，准备读取数据
		memset(work,0x0,sizeof(work));
		res = f_read(pfil,work,sizeof(work),&br);
		if(res==FR_OK)	printf("read size:%d Byte.\n%s",br,work);

		else	printf("read error!\r\n");
		f_close(pfil);//使用完毕关文件
	}
	res = f_mount(0,path,0);//测试结束，卸载文件系统
	return res;

}

//打印报警信息，并存储到U盘函数
void Data_Save_USB(void)
{
	//写入数据
//	printf("USB FATFS READ WRITE TEST!!!\n");
	retUSBH = TestFatFs(&USBHFatFS,&USBHFile,USBHPath);

}

/* USER CODE END Application */
